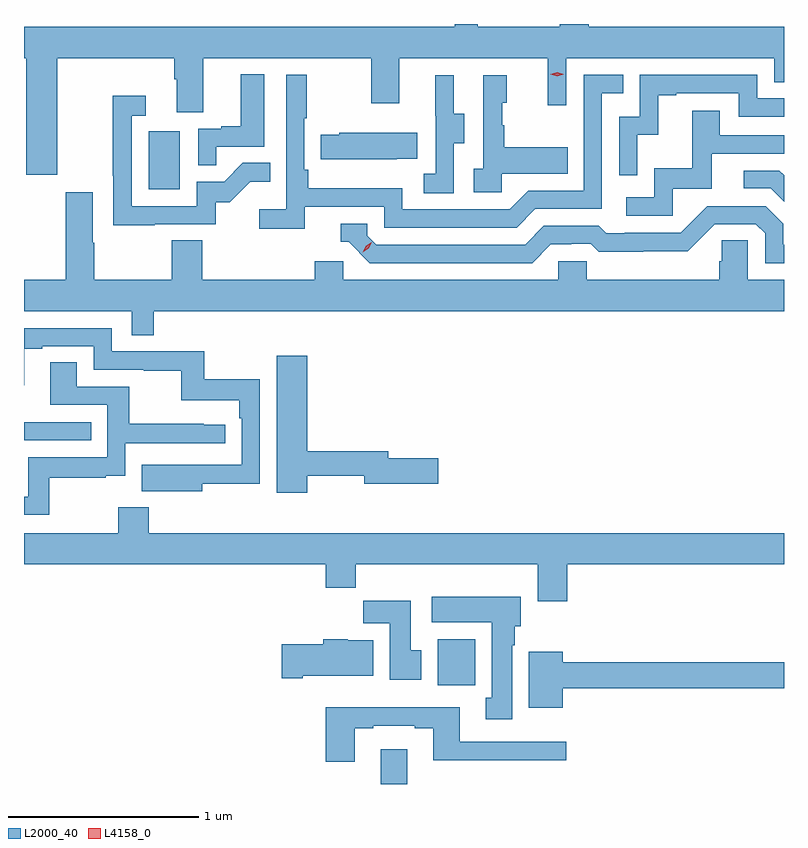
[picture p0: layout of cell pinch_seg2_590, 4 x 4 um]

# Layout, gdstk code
import gdstk
lib = gdstk.Library(unit=1e-6, precision=1e-09)
def R(c, l, rs):  # rectangles x0, y0, x1, y1
    for r in rs: c.add(gdstk.rectangle(r[:2], r[2:], *l))
def P(c, l, *ps):  # polygons
    for p in ps: c.add(gdstk.Polygon(p, *l))
L2000_40 = (2000, 40)
L4158_0 = (4158, 0)

pinch_seg2_590 = lib.new_cell('pinch_seg2_590')
R(pinch_seg2_590, L2000_40, [(1030.565,607.851,1030.705,608.035), (1030.865,608.372,1031.062,608.614), (1028.688,609.66,1029.041,609.756), (1029.344,610.98,1029.508,611.287)])
P(pinch_seg2_590, L2000_40, [(1028.863,611.672),(1029.478,611.672),(1029.478,611.56),(1029.491,611.56),(1029.491,611.386),(1029.631,611.386),(1029.631,611.672),(1030.516,611.672),(1030.516,611.433),(1030.663,611.433),(1030.663,611.672),(1031.444,611.672),(1031.444,611.424),(1031.541,611.424),(1031.541,611.672),(1032.636,611.672),(1032.636,611.545),(1032.688,611.545),(1032.688,611.836),(1031.66,611.836),(1031.66,611.851),(1031.507,611.851),(1031.507,611.836),(1031.077,611.836),(1031.077,611.851),(1030.956,611.851),(1030.956,611.836),(1028.688,611.836),(1028.688,611.672),(1028.699,611.672),(1028.699,611.058),(1028.863,611.058)],
  [(1029.701,611.205),(1029.952,611.205),(1029.952,611.587),(1029.83,611.587),(1029.83,611.314),(1029.727,611.314),(1029.727,611.301),(1029.606,611.301),(1029.606,611.107),(1029.701,611.107)],
  [(1030.166,610.89),(1030.584,610.89),(1030.584,610.779),(1031.281,610.779),(1031.38,610.878),(1031.73,610.878),(1031.73,611.487),(1031.843,611.487),(1031.843,611.583),(1031.634,611.583),(1031.634,610.974),(1031.343,610.974),(1031.244,610.875),(1030.68,610.875),(1030.68,610.987),(1030.184,610.987),(1030.184,611.083),(1030.164,611.083),(1030.164,611.356),(1030.177,611.356),(1030.177,611.584),(1030.068,611.584),(1030.068,610.876),(1029.927,610.876),(1029.927,610.774),(1030.166,610.774)],
  [(1031.916,611.267),(1032.026,611.267),(1032.026,611.475),(1032.121,611.475),(1032.121,611.487),(1032.45,611.487),(1032.45,611.364),(1032.688,611.364),(1032.688,611.46),(1032.546,611.46),(1032.546,611.583),(1031.928,611.583),(1031.928,611.364),(1031.82,611.364),(1031.82,611.055),(1031.916,611.055)],
  [(1031.202,611.063),(1031.549,611.063),(1031.549,611.203),(1031.215,611.203),(1031.215,611.318),(1031.205,611.318),(1031.205,611.436),(1031.23,611.436),(1031.23,611.581),(1031.106,611.581),(1031.106,611.09),(1031.055,611.09),(1031.055,610.965),(1031.202,610.965)],
  [(1030.95,611.224),(1031.005,611.224),(1031.005,611.379),(1030.951,611.379),(1030.951,611.581),(1030.853,611.581),(1030.853,611.367),(1030.854,611.367),(1030.854,611.063),(1030.791,611.063),(1030.791,610.96),(1030.95,610.96)],
  [(1029.377,610.797),(1029.696,610.797),(1029.696,610.914),(1029.772,610.914),(1029.879,611.021),(1029.983,611.021),(1029.983,611.12),(1029.84,611.12),(1029.742,611.022),(1029.597,611.022),(1029.597,610.893),(1029.255,610.893),(1029.255,611.367),(1029.328,611.367),(1029.328,611.473),(1029.154,611.473),(1029.154,611.053),(1029.159,611.053),(1029.159,610.792),(1029.377,610.792)],
  [(1032.102,610.983),(1032.307,610.983),(1032.307,611.169),(1032.688,611.169),(1032.688,611.265),(1032.349,611.265),(1032.349,611.395),(1032.205,611.395),(1032.205,611.092),(1032.006,611.092),(1032.006,610.938),(1031.859,610.938),(1031.859,610.842),(1032.102,610.842)],
  [(1030.649,611.141),(1030.757,611.141),(1030.757,611.278),(1030.347,611.278),(1030.347,611.268),(1030.249,611.268),(1030.249,611.138),(1030.649,611.138)],
  [(1032.688,611.055),(1032.664,611.079),(1032.477,611.079),(1032.477,610.986),(1032.618,610.986),(1032.688,610.916)],
  [(1029.371,610.34),(1032.688,610.34),(1032.688,610.504),(1032.498,610.504),(1032.498,610.712),(1032.361,610.712),(1032.361,610.602),(1032.347,610.602),(1032.347,610.504),(1031.649,610.504),(1031.649,610.602),(1031.499,610.602),(1031.499,610.504),(1030.368,610.504),(1030.368,610.602),(1030.217,610.602),(1030.217,610.504),(1029.626,610.504),(1029.626,610.712),(1029.466,610.712),(1029.466,610.504),(1029.057,610.504),(1029.057,610.7),(1029.049,610.7),(1029.049,610.966),(1028.909,610.966),(1028.909,610.504),(1028.688,610.504),(1028.688,610.34),(1029.255,610.34),(1029.255,610.213),(1029.371,610.213)],
  [(1031.461,610.692),(1031.568,610.692),(1031.568,610.695),(1031.671,610.695),(1031.713,610.653),(1031.946,610.653),(1031.946,610.655),(1032.182,610.655),(1032.324,610.797),(1032.54,610.797),(1032.588,610.749),(1032.588,610.593),(1032.688,610.593),(1032.688,610.689),(1032.685,610.689),(1032.685,610.799),(1032.591,610.893),(1032.285,610.893),(1032.144,610.752),(1031.851,610.752),(1031.851,610.749),(1031.752,610.749),(1031.713,610.788),(1031.424,610.788),(1031.325,610.689),(1030.542,610.689),(1030.494,610.737),(1030.494,610.8),(1030.355,610.8),(1030.355,610.704),(1030.398,610.704),(1030.509,610.593),(1031.362,610.593)],
  [(1029.625,609.43),(1029.93,609.43),(1029.93,609.982),(1029.637,609.982),(1029.637,610.128),(1029.15,610.128),(1029.15,610.251),(1028.688,610.251),(1028.688,609.95),(1028.689,609.95),(1028.689,610.143),(1028.785,610.143),(1028.785,610.155),(1029.054,610.155),(1029.054,610.032),(1029.319,610.032),(1029.319,610.027),(1029.516,610.027),(1029.516,609.872),(1029.821,609.872),(1029.821,609.776),(1029.834,609.776),(1029.834,609.531),(1029.521,609.531),(1029.521,609.532),(1029.307,609.532),(1029.307,609.392),(1029.625,609.392)],
  [(1030.18,609.474),(1030.478,609.474),(1030.478,609.431),(1030.867,609.431),(1030.867,609.566),(1030.606,609.566),(1030.606,609.602),(1030.18,609.602),(1030.18,610.105),(1030.019,610.105),(1030.019,609.384),(1030.18,609.384)],
  [(1028.821,609.462),(1029.119,609.462),(1029.119,609.473),(1029.222,609.473),(1029.222,609.645),(1029.748,609.645),(1029.748,609.741),(1029.635,609.741),(1029.635,609.746),(1029.242,609.746),(1029.242,609.942),(1028.965,609.942),(1028.965,610.07),(1028.825,610.07),(1028.825,609.846),(1029.126,609.846),(1029.126,609.57),(1028.71,609.57),(1028.71,609.364),(1028.688,609.364),(1028.688,609.267),(1028.821,609.267)],
  [(1031.546,609.008),(1032.688,609.008),(1032.688,609.172),(1029.344,609.172),(1029.344,609.307),(1029.184,609.307),(1029.184,609.172),(1028.688,609.172),(1028.688,609.008),(1030.277,609.008),(1030.277,608.884),(1030.433,608.884),(1030.433,609.008),(1031.393,609.008),(1031.393,608.814),(1031.546,608.814)],
  [(1031.257,608.582),(1031.272,608.582),(1031.272,608.682),(1031.302,608.682),(1031.302,608.836),(1030.833,608.836),(1030.833,608.702),(1031.15,608.702),(1031.15,608.306),(1031.117,608.306),(1031.117,608.193),(1031.257,608.193)],
  [(1030.78,608.556),(1030.723,608.556),(1030.723,608.815),(1030.474,608.815),(1030.474,608.696),(1030.613,608.696),(1030.613,608.4),(1030.78,608.4)],
  [(1030.156,608.42),(1030.525,608.42),(1030.525,608.608),(1030.392,608.608),(1030.392,608.614),(1030.262,608.614),(1030.262,608.586),(1030.044,608.586),(1030.044,608.408),(1030.156,608.408)],
  [(1031.524,608.356),(1032.688,608.356),(1032.688,608.492),(1031.524,608.492),(1031.524,608.548),(1031.345,608.548),(1031.345,608.252),(1031.524,608.252)],
  [(1030.429,608.145),(1030.525,608.145),(1030.525,608.157),(1030.745,608.157),(1030.745,608.145),(1030.841,608.145),(1030.841,607.976),(1031.542,607.976),(1031.542,608.073),(1030.981,608.073),(1030.981,608.254),(1030.277,608.254),(1030.277,607.968),(1030.429,607.968)])
P(pinch_seg2_590, L4158_0, [(1030.471,610.651),(1030.471,610.651),(1030.488,610.683),(1030.519,610.702),(1030.519,610.702),(1030.519,610.702),(1030.502,610.67),(1030.471,610.651)],
  [(1031.494,611.576),(1031.458,611.586),(1031.458,611.586),(1031.458,611.587),(1031.494,611.596),(1031.53,611.586),(1031.53,611.586),(1031.53,611.586)])

lib.write_gds('pinch_seg2_590.gds')
